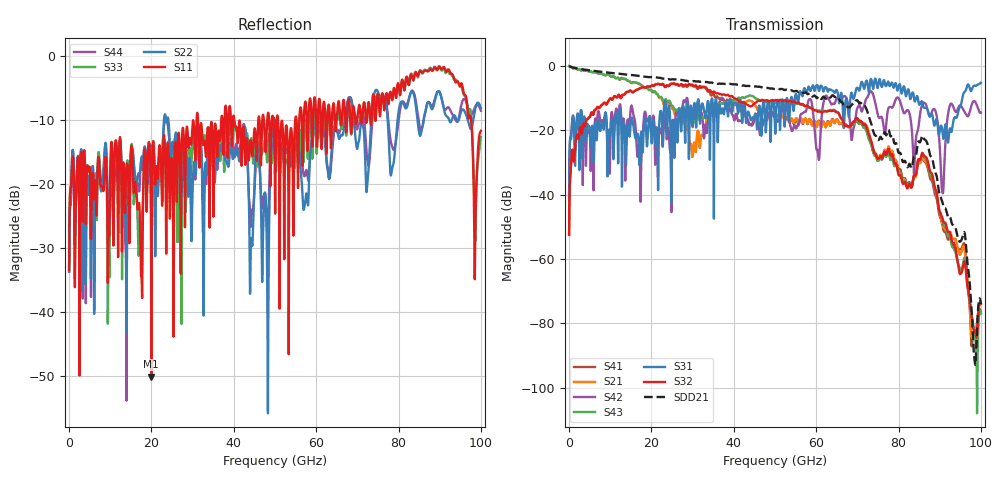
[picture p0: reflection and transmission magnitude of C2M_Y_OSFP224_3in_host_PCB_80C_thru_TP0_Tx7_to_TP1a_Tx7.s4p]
# GHz S RI R 45
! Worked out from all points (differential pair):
!   4000 points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, 25 MHz to 100 GHz, reference 45 ohm
!   strongest paths, dB at 25 MHz, 25.02 GHz, 50.02 GHz, 75.03 GHz, 100 GHz:
!     S32: -52.5, -5.6, -10.7, -28.9, -74.0
!     S31: -40.5, -19.1, -19.7, -6.5, -5.3
!     S43: -0.2, -12.4, -11.5, -29.6, -76.9
!     S42: -40.5, -26.4, -15.9, -15.6, -14.6
!     S21: -0.2, -13.3, -15.8, -28.7, -73.8
!     S41: -52.5, -5.6, -15.6, -29.3, -76.8
!   taken as a pair (ports 3,1 in; 4,2 out), SDD21 dB: -0.1, -4.2, -7.3, -23.1, -74.0
!   lowest |S11| = -50.0 dB at 19.98 GHz (marker M1), VSWR 1.01, Z = 44.7 + j0.119 ohm
!   |S11| at or under -10 dB: start of sweep to 30.11 GHz; 31.33 GHz to 36.95 GHz (5.625 GHz wide, 16.5 % of centre); 40.15 GHz to 45.95 GHz (5.796 GHz wide, 13.5 % of centre)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
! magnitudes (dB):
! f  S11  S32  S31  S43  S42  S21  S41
! 25 MHz  -33.4  -52.5  -40.5  -0.2  -40.5  -0.2  -52.5
! 19.98 GHz  -50.0  -6.3  -21.3  -7.5  -21.9  -7.6  -6.2
! 48.2 GHz  -9.3  -10.8  -11.7  -11.3  -16.4  -14.9  -15.1
! 49.85 GHz  -13.2  -10.9  -13.9  -11.7  -16.0  -15.5  -15.3
! 86.08 GHz  -2.4  -27.7  -12.8  -27.9  -11.4  -29.1  -29.3
! 90.67 GHz  -1.9  -47.3  -20.7  -47.9  -39.4  -48.9  -49.6
! 100 GHz  -11.6  -74.0  -5.3  -76.9  -14.6  -73.8  -76.8
